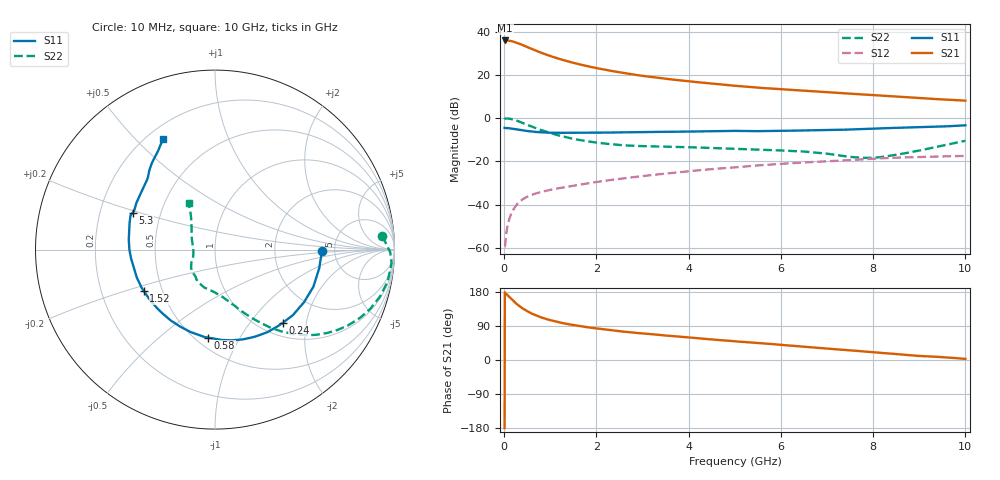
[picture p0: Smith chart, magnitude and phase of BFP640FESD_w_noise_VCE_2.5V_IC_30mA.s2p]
! Infineon Technologies  Discrete & RF Semiconductors
! BFP640FESD
! VCE =  2.5 V,  IC =  30 mA
! Common Emitter S-Parameters:  Jan 2016
# GHz  S  MA  R  50
!  f  S11  S21  S12  S22
! GHz  MAG  ANG  MAG  ANG  MAG  ANG  MAG  ANG
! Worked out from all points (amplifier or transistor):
!   233 points, 10 MHz to 10 GHz, reference 50 ohm
!   highest |S21| = 35.9 dB at 20 MHz (marker M1)
!   |S21| within 3 dB of that: start of sweep to 496.4 MHz
!   unconditionally stable (mu >= 1): 3.309 GHz to end of sweep
!   at 200 MHz: K = 0.14, MSG = 38.8 dB, |S12| = -42.3 dB
!   at 1.74 GHz: K = 0.84, MSG = 27.3 dB, |S12| = -30.4 dB
!   at 10 GHz: K = 1.07, MAG = 11.2 dB, |S12| = -17.5 dB
!   lowest NFmin = 1.07 dB at 450 MHz
!   S11 on the Smith chart (normalised r, x): 10 MHz: 3.96, -0.13; 240 MHz: 1.25, -1.48; 580 MHz: 0.57, -0.74; 1.52 GHz: 0.39, -0.23; 5.3 GHz: 0.34, +0.19; 10 GHz: 0.26, +0.61
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0.01  0.5974 -1.0  62.29 -179.8  0.0011 114.8  0.936 4.6
0.02  0.5917 -4.2  62.35 177.5  0.0011 95.7  0.976 -0.8
0.1  0.5859 -20.7  61.89 167.9  0.0042 82.9  0.9785 -10.4
0.155  0.5746 -31.4  60.31 160.9  0.0063 77.3  0.9525 -16.4
0.24  0.5563 -47.1  56.63 151.3  0.009 71.7  0.8975 -24.6
0.3  0.5451 -57.5  53.9 145.1  0.0108 68.5  0.8528 -29.7
0.4  0.524 -72.6  48.82 136.2  0.0133 63.9  0.7755 -36.9
0.5  0.5048 -85.8  43.98 128.7  0.0153 60.5  0.7024 -42.8
0.58  0.4917 -94.6  40.45 123.7  0.0166 58.8  0.6494 -46.5
0.7  0.4789 -106.6  35.84 117.1  0.0184 56.9  0.58 -51.4
0.8  0.4706 -114.6  32.51 112.6  0.0196 55.9  0.5312 -54.7
0.98  0.4617 -126.8  27.74 105.8  0.0218 55.4  0.4599 -59.6
1.2  0.4582 -138.2  23.29 99.2  0.0242 55.4  0.3943 -64.8
1.52  0.4585 -150.0  18.74 91.9  0.0277 56.2  0.3292 -71.0
1.68  0.4602 -154.9  17.04 88.7  0.0296 56.5  0.3061 -74.0
2.4  0.4655 -170.4  11.94 77.4  0.0383 57.7  0.245 -87.5
3.4  0.4818 174.7  8.362 65.8  0.051 57.2  0.2209 -104.0
5.1  0.5059 157.3  5.491 48.4  0.0742 52.2  0.1931 -123.0
5.3  0.5029 155.8  5.27 46.7  0.0775 51.7  0.19 -123.9
6.8  0.5255 140.0  4.089 32.0  0.098 43.6  0.1578 -147.1
8.4  0.5922 126.8  3.203 16.3  0.121 34.5  0.1369 159.2
10  0.6826 115.0  2.539 2.9  0.1337 24.0  0.2997 119.3
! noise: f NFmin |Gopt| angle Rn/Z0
0.45  1.07  0.19  -172  0.08
2.4  1.09  0.24  -171  0.1
5.5  1.31  0.29  -157  0.1
10  1.83  0.45  -105  0.31
